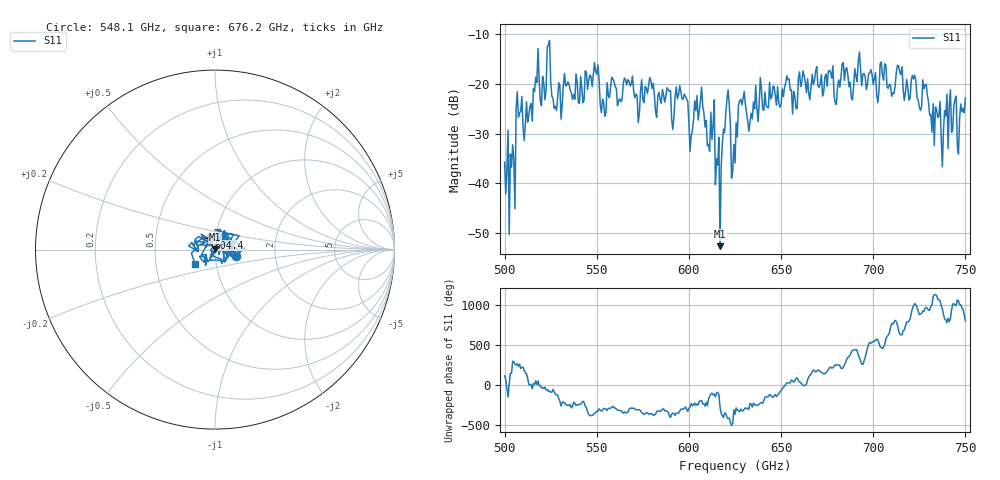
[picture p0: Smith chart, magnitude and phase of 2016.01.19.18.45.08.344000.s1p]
!Created with skrf (http://scikit-rf.org).
# GHz S RI R 50.0
!freq ReS11 ImS11
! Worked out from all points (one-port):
!   401 points, 500 GHz to 750 GHz, reference 50 ohm
!   lowest |S11| = -52.6 dB at 616.9 GHz (marker M1), VSWR 1.00, Z = 50 + j0.231 ohm
!   |S11| at or under -10 dB: start of sweep to end of sweep
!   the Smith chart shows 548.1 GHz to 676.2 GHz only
!   S11 on the Smith chart (normalised r, x): 548.1 GHz: 1.27, -0.09; 604.4 GHz: 0.92, +0.12; 676.2 GHz: 0.79, -0.13
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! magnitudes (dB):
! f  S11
! 500 GHz  -35.7
! 503.8 GHz  -36.8
! 507.5 GHz  -26.7
! 511.2 GHz  -28.1
! 517.5 GHz  -19.7
! 520.6 GHz  -18.5
! 523.8 GHz  -12.3
! 526.9 GHz  -24.9
! 531.2 GHz  -24.2
! 548.1 GHz  -18.2
! 553.8 GHz  -23.9
! 562.5 GHz  -23.0
! 593.8 GHz  -23.0
! 601.2 GHz  -30.5
! 604.4 GHz  -22.4
! 612.5 GHz  -31.2
! 616.9 GHz  -52.6
! 620.6 GHz  -23.2
! 625 GHz  -35.9
! 628.8 GHz  -24.3
! 633.1 GHz  -27.8
! 656.2 GHz  -26.1
! 676.2 GHz  -17.3
! 687.5 GHz  -19.7
! 718.8 GHz  -20.7
! 728.1 GHz  -20.3
! 738.1 GHz  -29.2
! 750 GHz  -22.8
